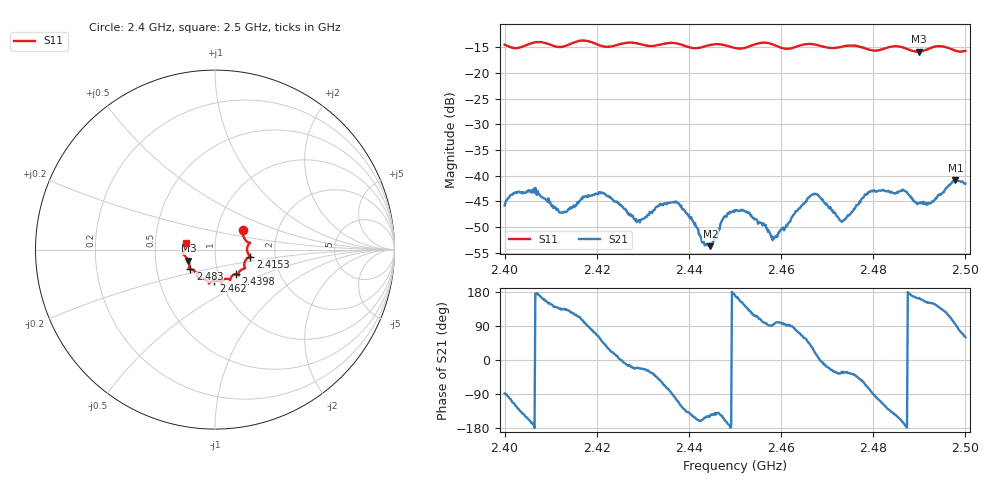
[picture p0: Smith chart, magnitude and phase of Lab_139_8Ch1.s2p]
# Hz S RI R 50
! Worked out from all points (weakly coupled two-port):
!   601 points, 2.4 GHz to 2.5 GHz, reference 50 ohm
!   highest |S21| = -40.82 dB at 2.4978 GHz (marker M1); lowest = -53.7 dB at 2.4447 GHz (marker M2)
!   lowest |S11| = -15.9 dB at 2.4898 GHz (marker M3), VSWR 1.38, Z = 36.8 - j4.63 ohm
!   |S11| at or under -10 dB: start of sweep to end of sweep
!   S12 and S22 are empty: the file has one direction only
!   S11 on the Smith chart (normalised r, x): 2.4 GHz: 1.33, +0.30; 2.4153 GHz: 1.48, -0.12; 2.4398 GHz: 1.21, -0.34; 2.462 GHz: 0.93, -0.33; 2.483 GHz: 0.74, -0.17; 2.5 GHz: 0.72, +0.06
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2.4e9  0.155 0.107  0.000135 -0.00513  0 0  0 0
2.406167e9  0.1929 0.0378  -0.00682 -0.00133  0 0  0 0
2.412167e9  0.1786 -0.00258  -0.00312 0.00303  0 0  0 0
2.415333e9  0.1965 -0.0387  -0.00243 0.00452  0 0  0 0
2.416667e9  0.2023 -0.0427  -0.00183 0.00571  0 0  0 0
2.421333e9  0.1725 -0.0567  0.00458 0.00492  0 0  0 0
2.428833e9  0.1629 -0.1053  0.00338 -0.00127  0 0  0 0
2.433333e9  0.1308 -0.1336  0.00323 -0.00388  0 0  0 0
2.437333e9  0.1313 -0.1428  -0.00153 -0.00527  0 0  0 0
2.439833e9  0.1154 -0.1363  -0.00302 -0.00275  0 0  0 0
2.444667e9  0.0846 -0.1672  -0.0017 -0.00117  0 0  0 0
2.45e9  0.0649 -0.1626  -0.00455 0.000728  0 0  0 0
2.458333e9  0.0353 -0.1854  -0.000176 0.00249  0 0  0 0
2.462e9  -0.00493 -0.1729  -9.79e-07 0.00358  0 0  0 0
2.466667e9  -0.0342 -0.1881  0.00543 0.0036  0 0  0 0
2.473167e9  -0.0816 -0.1604  0.00302 -0.00185  0 0  0 0
2.478667e9  -0.1012 -0.1376  0.00226 -0.00631  0 0  0 0
2.483e9  -0.1375 -0.1095  -0.00432 -0.00559  0 0  0 0
2.483333e9  -0.1401 -0.1095  -0.00463 -0.0054  0 0  0 0
2.489833e9  -0.1485 -0.0612  -0.00517 0.00157  0 0  0 0
2.497833e9  -0.1647 0.00318  -0.000659 0.00908  0 0  0 0
2.5e9  -0.1594 0.0391  0.00415 0.00726  0 0  0 0
